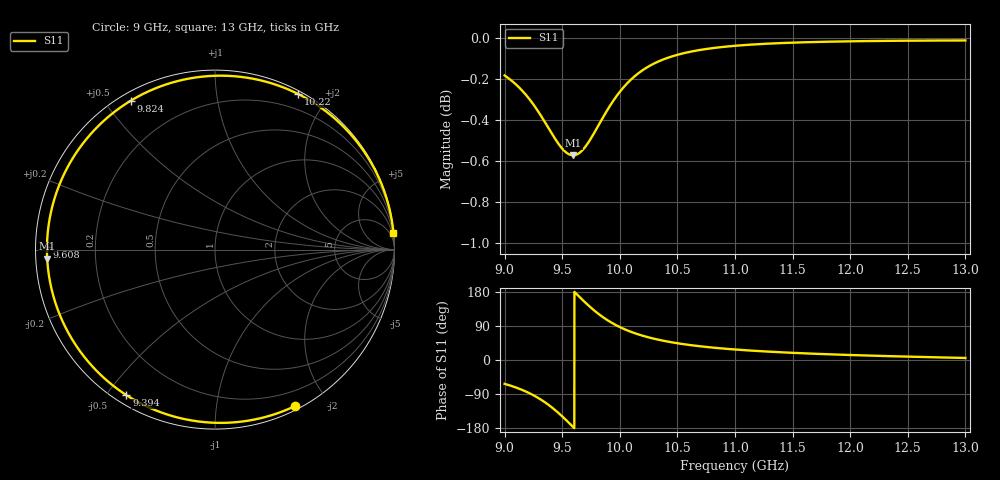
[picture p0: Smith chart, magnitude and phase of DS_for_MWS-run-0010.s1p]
! TOUCHSTONE file generated by CST DESIGN STUDIO
! Date and time: Tue Feb  4 14:06:58 2025
! Project name: C:\Work\MatlabApps\UnitCellOptimizationMatlab\CST\unitcell.cst
! Tree item: Tasks\Sweep1\SPara1\S-Parameters
! Header version: 2024
! Port assignment regex: !\s*Touchstone port\s*([0-9]+)\s*=\s*(CST MWS port|CST DES external port|CST DES block port)\s*(.+)\s* \(\"(.*)\"\)(\s*mode\s*([0-9]+))?.*
! Touchstone port assignment:
! Touchstone port 1 = CST DES external port 1 ("")
# GHz S MA R 50
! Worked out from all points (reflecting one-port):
!   4001 points, 9 GHz to 13 GHz, reference 50 ohm
!   lowest |S11| = -0.6 dB at 9.595 GHz (marker M1), VSWR 30.42, Z = 1.64 - j1.36 ohm
!   phase of S11 starts at -63 deg and turns -292 deg over the sweep
!   S11 on the Smith chart (normalised r, x): 9 GHz: 0.04, -1.63; 9.394 GHz: 0.03, -0.56; 9.608 GHz: 0.03, +0.01; 9.824 GHz: 0.03, +0.58; 10.22 GHz: 0.03, +1.67; 13 GHz: 0, +21
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9  0.9791 -62.9
9.05  0.9768 -67.5
9.12  0.9729 -75.0
9.241  0.9641 -91.5
9.323  0.9566 -106.1
9.394  0.9494 -121.3
9.447  0.9442 -134.3
9.5  0.9399 -148.7
9.549  0.9372 -163.0
9.595  0.9363 -176.9
9.608  0.9364 179.2
9.653  0.9378 165.5
9.7  0.9408 151.7
9.762  0.9465 134.7
9.824  0.9531 119.6
9.863  0.9574 111.1
9.905  0.9617 102.7
10  0.9702 86.9
10.107  0.9775 73.2
10.224  0.9831 61.8
10.351  0.9873 52.5
10.5  0.9905 44.2
10.72  0.9934 35.4
11  0.9955 27.7
11.5  0.9973 18.9
12  0.998 13.2
12.5  0.9984 8.9
13  0.9985 5.4
